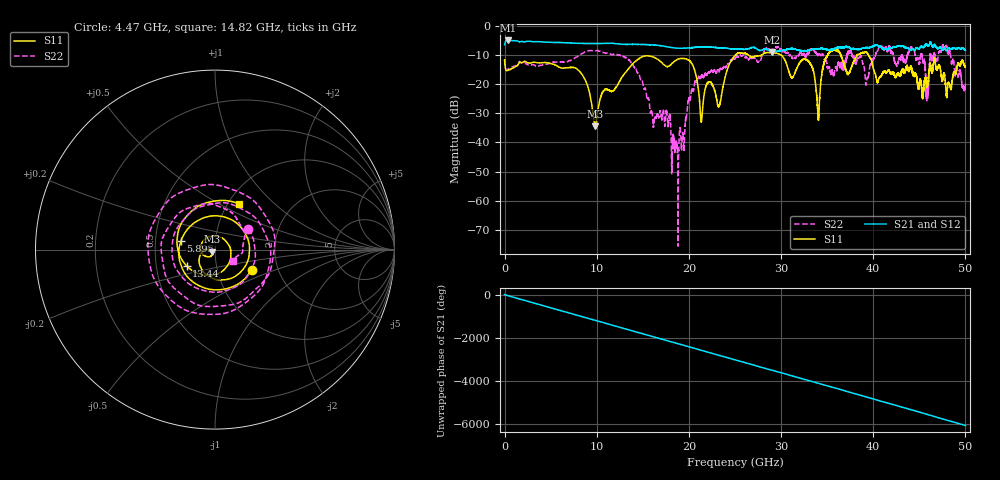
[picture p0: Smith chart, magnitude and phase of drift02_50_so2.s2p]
!Created with skrf (http://scikit-rf.org).
# Hz S RI R 50.0
!freq ReS11 ImS11 ReS21 ImS21 ReS12 ImS12 ReS22 ImS22
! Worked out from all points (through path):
!   10001 points, 300 kHz to 50 GHz, reference 50 ohm
!   highest |S21| = -5.04 dB at 375.3 MHz (marker M1); lowest = -9.0 dB at 29.01 GHz (marker M2)
!   group delay of S21, straight-line fit = 336 ps
!   lowest |S11| = -34.5 dB at 9.84 GHz (marker M3), VSWR 1.04, Z = 48.5 - j1.05 ohm
!   |S11| at or under -10 dB: start of sweep to 25.06 GHz; 29.97 GHz to 35.05 GHz (5.087 GHz wide, 15.6 % of centre); 39.48 GHz to end of sweep (the widest 3 of 10)
!   |S22| runs from -75.6 to -6.4 dB; largest |S21 - S12| = 0.023
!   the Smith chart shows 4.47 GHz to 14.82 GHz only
!   S11 on the Smith chart (normalised r, x): 4.47 GHz: 1.46, -0.35; 5.895 GHz: 0.68, +0.07; 13.44 GHz: 0.72, -0.14; 14.82 GHz: 1.12, +0.63
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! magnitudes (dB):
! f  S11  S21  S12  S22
! 300 kHz  -11.7  -6.5  -6.4  -11.6
! 375.3 MHz  -15.3  -5.0  -5.0  -14.9
! 4.47 GHz  -12.6  -5.6  -5.6  -13.2
! 5.895 GHz  -14.2  -5.7  -5.7  -12.4
! 8.335 GHz  -16.4  -6.0  -6.0  -9.6
! 9.84 GHz  -34.5  -6.1  -6.1  -8.6
! 13.44 GHz  -14.8  -6.4  -6.4  -11.6
! 14.82 GHz  -10.8  -6.4  -6.4  -18.5
! 16.67 GHz  -11.6  -6.7  -6.7  -31.0
! 18.66 GHz  -11.7  -7.7  -7.7  -40.7
! 20.37 GHz  -13.3  -7.5  -7.5  -21.9
! 21.37 GHz  -32.6  -7.3  -7.3  -17.0
! 23.31 GHz  -27.3  -7.5  -7.6  -15.6
! 25 GHz  -10.3  -7.9  -8.0  -11.2
! 29.01 GHz  -9.1  -9.0  -9.0  -8.2
! 33.34 GHz  -14.0  -8.1  -8.1  -8.1
! 34.02 GHz  -31.2  -7.9  -7.9  -10.2
! 35.54 GHz  -8.4  -8.1  -8.2  -15.2
! 41.67 GHz  -15.3  -7.7  -7.8  -7.5
! 45.86 GHz  -21.2  -6.7  -6.8  -22.2
! 47.76 GHz  -17.1  -7.5  -7.5  -7.6
! 50 GHz  -14.0  -8.4  -8.4  -20.2
